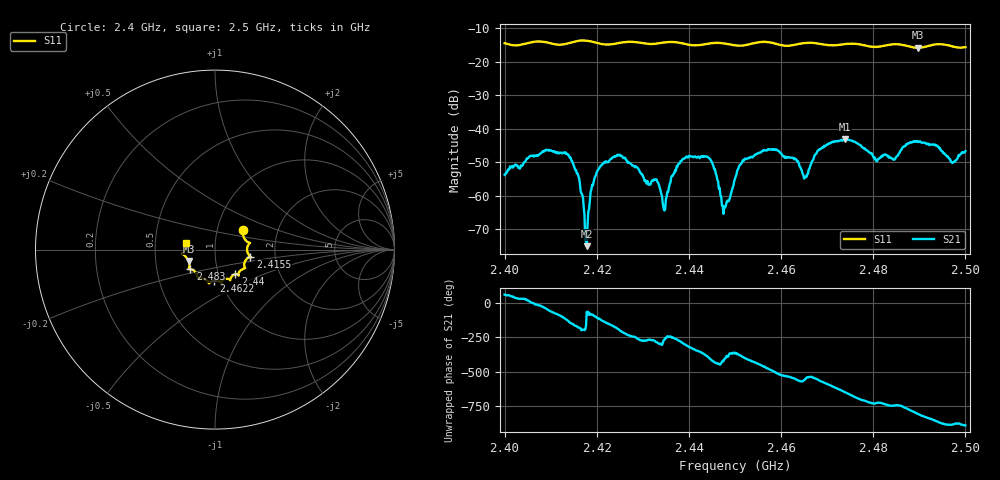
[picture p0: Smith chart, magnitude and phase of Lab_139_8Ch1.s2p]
# Hz S RI R 50
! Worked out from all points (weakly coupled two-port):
!   601 points, 2.4 GHz to 2.5 GHz, reference 50 ohm
!   highest |S21| = -43.22 dB at 2.4738 GHz (marker M1); lowest = -75.1 dB at 2.4178 GHz (marker M2)
!   lowest |S11| = -15.9 dB at 2.4897 GHz (marker M3), VSWR 1.38, Z = 36.9 - j4.81 ohm
!   |S11| at or under -10 dB: start of sweep to end of sweep
!   S12 and S22 are empty: the file has one direction only
!   S11 on the Smith chart (normalised r, x): 2.4 GHz: 1.33, +0.29; 2.4155 GHz: 1.49, -0.12; 2.44 GHz: 1.20, -0.34; 2.4622 GHz: 0.93, -0.33; 2.483 GHz: 0.74, -0.17; 2.5 GHz: 0.72, +0.06
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2.4e9  0.1553 0.1064  0.00103 0.00177  0 0  0 0
2.4095e9  0.1885 0.0306  0.0029 -0.00387  0 0  0 0
2.4155e9  0.1973 -0.0393  -0.00236 -0.000508  0 0  0 0
2.416667e9  0.2018 -0.0426  -0.00102 0.000367  0 0  0 0
2.417833e9  0.2003 -0.0422  7.5e-05 -0.000159  0 0  0 0
2.419833e9  0.1863 -0.0449  -0.000409 -0.00199  0 0  0 0
2.423333e9  0.1631 -0.0801  -0.00354 -0.000905  0 0  0 0
2.433333e9  0.1312 -0.1335  0.000651 0.00141  0 0  0 0
2.434667e9  0.1306 -0.1422  -8.54e-06 0.000599  0 0  0 0
2.44e9  0.114 -0.137  0.00304 0.00248  0 0  0 0
2.4445e9  0.0848 -0.1662  0.00252 -0.00253  0 0  0 0
2.447667e9  0.0822 -0.1672  0.00044 -0.000527  0 0  0 0
2.45e9  0.0646 -0.1626  0.00179 -0.000157  0 0  0 0
2.456167e9  0.0387 -0.1931  -0.000987 -0.00468  0 0  0 0
2.462167e9  -0.00747 -0.1738  -0.00367 0.000198  0 0  0 0
2.465167e9  -0.0324 -0.1867  -0.00179 0.000538  0 0  0 0
2.466667e9  -0.0342 -0.1876  -0.00321 -7.29e-05  0 0  0 0
2.473833e9  -0.0863 -0.1609  0.00226 0.00652  0 0  0 0
2.483e9  -0.1377 -0.1096  0.0037 -0.00148  0 0  0 0
2.483333e9  -0.1402 -0.1095  0.00351 -0.00172  0 0  0 0
2.489667e9  -0.1474 -0.0635  0.000276 -0.00642  0 0  0 0
2.5e9  -0.1595 0.0391  -0.00457 -0.000683  0 0  0 0
